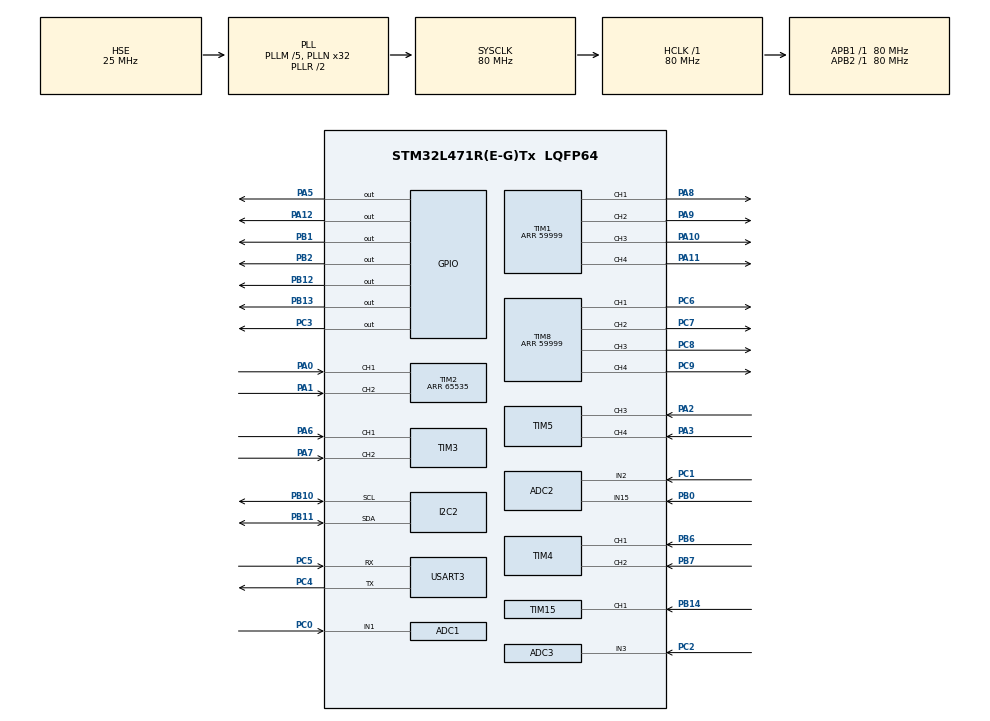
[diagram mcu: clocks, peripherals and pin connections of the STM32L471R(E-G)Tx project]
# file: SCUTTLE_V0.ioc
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ADC1.Channel-0\#ChannelRegularConversion=ADC_CHANNEL_1
ADC1.NbrOfConversionFlag=1
ADC1.OffsetNumber-0\#ChannelRegularConversion=ADC_OFFSET_NONE
ADC1.Rank-0\#ChannelRegularConversion=1
ADC1.SamplingTime-0\#ChannelRegularConversion=ADC_SAMPLETIME_2CYCLES_5
ADC1.master=1
ADC2.Channel-0\#ChannelRegularConversion=ADC_CHANNEL_2
ADC2.Channel-1\#ChannelRegularConversion=ADC_CHANNEL_15
ADC2.NbrOfConversion=2
ADC2.NbrOfConversionFlag=1
ADC2.OffsetNumber-0\#ChannelRegularConversion=ADC_OFFSET_NONE
ADC2.OffsetNumber-1\#ChannelRegularConversion=ADC_OFFSET_NONE
ADC2.Rank-0\#ChannelRegularConversion=1
ADC2.Rank-1\#ChannelRegularConversion=2
ADC2.SamplingTime-0\#ChannelRegularConversion=ADC_SAMPLETIME_2CYCLES_5
ADC2.SamplingTime-1\#ChannelRegularConversion=ADC_SAMPLETIME_2CYCLES_5
ADC3.Channel-1\#ChannelRegularConversion=ADC_CHANNEL_3
ADC3.NbrOfConversionFlag=1
ADC3.OffsetNumber-1\#ChannelRegularConversion=ADC_OFFSET_NONE
ADC3.Rank-1\#ChannelRegularConversion=1
ADC3.SamplingTime-1\#ChannelRegularConversion=ADC_SAMPLETIME_2CYCLES_5
I2C2.Timing=0x10909CEC
Mcu.Family=STM32L4
Mcu.Name=STM32L471R(E-G)Tx
Mcu.Package=LQFP64
NVIC.PriorityGroup=NVIC_PRIORITYGROUP_4
NVIC.RCC_IRQn=true\:0\:0\:false\:false\:true\:true\:false\:true
NVIC.TIM1_BRK_TIM15_IRQn=true\:0\:0\:false\:false\:true\:true\:true\:true
NVIC.USART3_IRQn=true\:0\:0\:false\:false\:true\:true\:true\:true
PA0.Signal=S_TIM2_CH1
PA1.Signal=S_TIM2_CH2
PA10.Signal=S_TIM1_CH3
PA11.Signal=S_TIM1_CH4
PA12.Signal=GPIO_Output
PA13\ (JTMS-SWDIO).Mode=Serial_Wire
PA13\ (JTMS-SWDIO).Signal=SYS_JTMS-SWDIO
PA14\ (JTCK-SWCLK).Mode=Serial_Wire
PA14\ (JTCK-SWCLK).Signal=SYS_JTCK-SWCLK
PA2.Signal=S_TIM5_CH3
PA3.Signal=S_TIM5_CH4
PA4.Signal=SPI3_NSS
PA5.Signal=GPIO_Output
PA6.Signal=S_TIM3_CH1
PA7.Signal=S_TIM3_CH2
PA8.Signal=S_TIM1_CH1
PA9.Signal=S_TIM1_CH2
PB0.Signal=ADCx_IN15
PB1.Signal=GPIO_Output
PB10.Mode=I2C
PB10.Signal=I2C2_SCL
PB11.Mode=I2C
PB11.Signal=I2C2_SDA
PB12.Signal=GPIO_Output
PB13.Signal=GPIO_Output
PB14.Signal=S_TIM15_CH1
PB15.Signal=S_TIM15_CH2
PB2.Signal=GPIO_Output
PB3\ (JTDO-TRACESWO).Signal=SYS_JTDO-SWO
PB6.Signal=S_TIM4_CH1
PB7.Signal=S_TIM4_CH2
PC0.Signal=SharedAnalog_PC0
PC1.Signal=SharedAnalog_PC1
PC2.Signal=SharedAnalog_PC2
PC3.Signal=GPIO_Output
PC4.Mode=Asynchronous
PC4.Signal=USART3_TX
PC5.Mode=Asynchronous
PC5.Signal=USART3_RX
PC6.Signal=S_TIM8_CH1
PC7.Signal=S_TIM8_CH2
PC8.Signal=S_TIM8_CH3
PC9.Signal=S_TIM8_CH4
PH0-OSC_IN\ (PH0).Mode=HSE-External-Oscillator
PH0-OSC_IN\ (PH0).Signal=RCC_OSC_IN
PH1-OSC_OUT\ (PH1).Mode=HSE-External-Oscillator
PH1-OSC_OUT\ (PH1).Signal=RCC_OSC_OUT
ProjectManager.HeapSize=0x200
ProjectManager.StackSize=0x400
ProjectManager.TargetToolchain=STM32CubeIDE
RCC.ADCFreq_Value=60000000
RCC.AHBFreq_Value=80000000
RCC.APB1Freq_Value=80000000
RCC.APB1TimFreq_Value=80000000
RCC.APB2Freq_Value=80000000
RCC.APB2TimFreq_Value=80000000
RCC.CortexFreq_Value=80000000
RCC.HCLKFreq_Value=80000000
RCC.HSE_VALUE=25000000
RCC.HSI_VALUE=16000000
RCC.LSE_VALUE=32768
RCC.MSI_VALUE=4000000
RCC.PLLM=5
RCC.PLLN=32
RCC.PLLSAI1N=24
RCC.PLLSourceVirtual=RCC_PLLSOURCE_HSE
RCC.SYSCLKFreq_VALUE=80000000
RCC.SYSCLKSource=RCC_SYSCLKSOURCE_PLLCLK
RCC.VCOOutputFreq_Value=160000000
SH.ADCx_IN15.0=ADC2_IN15,IN15-Single-Ended
SH.S_TIM15_CH1.0=TIM15_CH1,Input_Capture1_from_TI1
SH.S_TIM15_CH2.0=TIM15_CH2
SH.S_TIM1_CH1.0=TIM1_CH1,PWM Generation1 CH1
SH.S_TIM1_CH2.0=TIM1_CH2,PWM Generation2 CH2
SH.S_TIM1_CH3.0=TIM1_CH3,PWM Generation3 CH3
SH.S_TIM1_CH4.0=TIM1_CH4,PWM Generation4 CH4
SH.S_TIM2_CH1.0=TIM2_CH1,Encoder_Interface
SH.S_TIM2_CH2.0=TIM2_CH2,Encoder_Interface
SH.S_TIM3_CH1.0=TIM3_CH1,Encoder_Interface
SH.S_TIM3_CH2.0=TIM3_CH2,Encoder_Interface
SH.S_TIM4_CH1.0=TIM4_CH1,Encoder_Interface
SH.S_TIM4_CH2.0=TIM4_CH2,Encoder_Interface
SH.S_TIM5_CH3.0=TIM5_CH3,Input_Capture3_from_TI3
SH.S_TIM5_CH4.0=TIM5_CH4,Input_Capture4_from_TI4
SH.S_TIM8_CH1.0=TIM8_CH1,PWM Generation1 CH1
SH.S_TIM8_CH2.0=TIM8_CH2,PWM Generation2 CH2
SH.S_TIM8_CH3.0=TIM8_CH3,PWM Generation3 CH3
SH.S_TIM8_CH4.0=TIM8_CH4,PWM Generation4 CH4
SH.SharedAnalog_PC0.0=GPIO_Analog
SH.SharedAnalog_PC0.1=ADC1_IN1,IN1-Single-Ended
SH.SharedAnalog_PC1.0=GPIO_Analog
SH.SharedAnalog_PC1.1=ADC1_IN2
SH.SharedAnalog_PC1.2=ADC2_IN2,IN2-Single-Ended
SH.SharedAnalog_PC2.0=GPIO_Analog
SH.SharedAnalog_PC2.1=ADC2_IN3
SH.SharedAnalog_PC2.2=ADC3_IN3,IN3-Single-Ended
TIM1.Channel-PWM\ Generation1\ CH1=TIM_CHANNEL_1
TIM1.Channel-PWM\ Generation2\ CH2=TIM_CHANNEL_2
TIM1.Channel-PWM\ Generation3\ CH3=TIM_CHANNEL_3
TIM1.Channel-PWM\ Generation4\ CH4=TIM_CHANNEL_4
TIM1.OC1Preload_PWM=DISABLE
TIM1.OC2Preload_PWM=DISABLE
TIM1.OC3Preload_PWM=DISABLE
TIM1.OC4Preload_PWM=DISABLE
TIM1.Period=59999
TIM1.Pulse-PWM\ Generation3\ CH3=0
TIM1.Pulse-PWM\ Generation4\ CH4=0
TIM15.AutoReloadPreload=TIM_AUTORELOAD_PRELOAD_ENABLE
TIM15.Channel-Input_Capture1_from_TI1=TIM_CHANNEL_1
TIM15.ICPolarity_CH1=TIM_INPUTCHANNELPOLARITY_BOTHEDGE
TIM15.Prescaler=79
TIM17.Prescaler=79
TIM2.Period=65535
TIM5.Channel-Input_Capture3_from_TI3=TIM_CHANNEL_3
TIM5.Channel-Input_Capture4_from_TI4=TIM_CHANNEL_4
TIM8.Channel-PWM\ Generation1\ CH1=TIM_CHANNEL_1
TIM8.Channel-PWM\ Generation2\ CH2=TIM_CHANNEL_2
TIM8.Channel-PWM\ Generation3\ CH3=TIM_CHANNEL_3
TIM8.Channel-PWM\ Generation4\ CH4=TIM_CHANNEL_4
TIM8.Period=59999
USART3.DMADisableonRxErrorParam=ADVFEATURE_DMA_DISABLEONRXERROR
USART3.VirtualMode-Asynchronous=VM_ASYNC
VP_TIM17_VS_ClockSourceINT.Mode=Enable_Timer
VP_TIM1_VS_ClockSourceINT.Mode=Internal
board=custom

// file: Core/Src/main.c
/**
  ******************************************************************************
  * @file    main.c
  * @brief   Main program for STM32 application using finite state machine (FSM)
  *          to manage tasks and peripherals. SCUTTLE main code.
  * @details This file implements the main program logic using a finite state
  *          machine (FSM) approach to coordinate various tasks and control
  *          peripheral devices on an STM32 microcontroller.
  ******************************************************************************
  */

#include "main.h"
#include "task1.h"
#include "task2.h"
#include "task4.h"
#include "task5.h"
#include "task6.h"
#include "Counter.h"
#include "motor.h"
#include "encoder.h"
#include "motorcontrol.h"

ADC_HandleTypeDef hadc1;                /**< ADC handle for ADC1 */
ADC_HandleTypeDef hadc2;                /**< ADC handle for ADC2 */
ADC_HandleTypeDef hadc3;                /**< ADC handle for ADC3 */

I2C_HandleTypeDef hi2c2;                /**< I2C handle for I2C2 */

TIM_HandleTypeDef htim1;                /**< TIM handle for TIM1 */
TIM_HandleTypeDef htim2;                /**< TIM handle for TIM2 */
TIM_HandleTypeDef htim3;                /**< TIM handle for TIM3 */
TIM_HandleTypeDef htim4;                /**< TIM handle for TIM4 */
TIM_HandleTypeDef htim5;                /**< TIM handle for TIM5 */
TIM_HandleTypeDef htim8;                /**< TIM handle for TIM8 */
TIM_HandleTypeDef htim15;               /**< TIM handle for TIM15 */
TIM_HandleTypeDef htim17;               /**< TIM handle for TIM17 */

UART_HandleTypeDef huart3;              /**< UART handle for UART3 */

int usWidth = 0;                        /**< Width for Radio Interrupt */
#define TIMCLOCK   80000000            /**< Timer Clock Frequency */
#define PRESCALAR  80                 /**< Timer Prescalar */

int IC_Val1 = 0;                        /**< Input Capture Value 1 */
int IC_Val2 = 0;                        /**< Input Capture Value 2 */
int Difference = 0;                     /**< Difference between IC values */
int Is_First_Captured = 0;              /**< Flag for first capture */

uint32_t sumval = 0;                    /**< Metal Detector Value */

uint8_t SPI_Rec = 0;                    /**< Flag for SPI Data Received */

uint8_t MDON = 0;                       /**< Metal Detector ON Flag */

uint8_t Metal_Found = 0;                /**< Flag for metal detection */

float Distance_Target = 0;              /**< Distance Setpoint */
float Angle_Target = 0;                 /**< Angle Setpoint */

uint8_t rx_buff[8];                     /**< UART Receive Buffer */

void SystemClock_Config(void);
void PeriphCommonClock_Config(void);
static void MX_GPIO_Init(void);
static void MX_TIM1_Init(void);
static void MX_ADC1_Init(void);
static void MX_ADC2_Init(void);
static void MX_ADC3_Init(void);
static void MX_TIM2_Init(void);
static void MX_TIM3_Init(void);
static void MX_USART3_UART_Init(void);
static void MX_TIM4_Init(void);
static void MX_TIM5_Init(void);
static void MX_I2C2_Init(void);
static void MX_TIM8_Init(void);
static void MX_TIM15_Init(void);
static void MX_TIM17_Init(void);

/**
  * @brief  Main function
  * @retval int
  */
int main(void)
{
  uint8_t task = 0;       /**< State variable for main loop */
  uint8_t T1State = 0;    /**< Task 1 State */
  uint8_t T2State = 0;    /**< Task 2 State */
  uint8_t T4State = 0;    /**< Task 4 State */
  uint8_t T5State = 0;    /**< Task 5 State */
  uint8_t T6State = 0;    /**< Task 6 State */

  uint8_t DriveON_Rad = 1; /**< Radio Drive ON */
  uint8_t ArmON = 1;       /**< Arm Motor ON */

  uint8_t Follow = 1;      /**< Follow mode */

  uint8_t OpenMV = 1;      /**< OpenMV flag */

  uint8_t BatKill = 0;     /**< Kill switch states */
  uint8_t RadKill = 0;

  HAL_Init();  // Initialize HAL

  SystemClock_Config();  // Configure system clock

  PeriphCommonClock_Config();  // Configure common peripherals clock

  MX_GPIO_Init();       // Initialize GPIO
  MX_TIM1_Init();       // Initialize TIM1
  MX_ADC1_Init();       // Initialize ADC1
  MX_ADC2_Init();       // Initialize ADC2
  MX_ADC3_Init();       // Initialize ADC3
  MX_TIM2_Init();       // Initialize TIM2
  MX_TIM3_Init();       // Initialize TIM3
  MX_USART3_UART_Init();// Initialize USART3
  MX_TIM4_Init();       // Initialize TIM4
  MX_TIM5_Init();       // Initialize TIM5
  MX_I2C2_Init();       // Initialize I2C2
  MX_TIM8_Init();       // Initialize TIM8
  MX_TIM15_Init();      // Initialize TIM15
  MX_TIM17_Init();      // Initialize TIM17

  // Start PWM for motor 1 and motor 2 channels
  HAL_TIM_PWM_Start(&htim1, TIM_CHANNEL_1);
  HAL_TIM_PWM_Start(&htim1, TIM_CHANNEL_2);
  HAL_TIM_PWM_Start(&htim1, TIM_CHANNEL_3);
  HAL_TIM_PWM_Start(&htim1, TIM_CHANNEL_4);

  // Enable motors 1 (PB1) and 2 (PB2)
  HAL_GPIO_WritePin(GPIOB, GPIO_PIN_1 | GPIO_PIN_2 | GPIO_PIN_12 | GPIO_PIN_13, GPIO_PIN_SET);

  // Start the encoders and enable interrupts
  HAL_TIM_Encoder_Start_IT(&htim3, TIM_CHANNEL_ALL);
  __HAL_TIM_SET_COUNTER(&htim3, 0);
  HAL_TIM_Encoder_Start_IT(&htim4, TIM_CHANNEL_ALL);
  __HAL_TIM_SET_COUNTER(&htim4, 0);

  // Start ADCs
  HAL_ADC_Start(&hadc1);
  HAL_ADC_Start(&hadc2);
  HAL_ADC_Start(&hadc3);

  // Start UART receive interrupt
  HAL_UART_Receive_IT(&huart3, rx_buff, 8);

  while (1) {
    switch(task) {
      case 0: // Initialization
        task = 1;
        break;

      case 1: // Diagnostics
        task1_run(&T1State, hadc2, &BatKill);
        task = 2;
        break;

      case 2: // Radio Control
        task2_run(&T2State, &BatKill, &RadKill, &usWidth, &DriveON_Rad, &ArmON, &MDON, &OpenMV);
        task = 4;
        break;

      case 4: // Metal Detector
        task4_run(&T4State, &MDON, &sumval, htim17, &Metal_Found, hadc1, hadc2, hadc3);
        task = 5;
        break;

      case 5: // Arm Motor
        task5_run(&T5State, &ArmON, &Metal_Found, htim17, &sumval);
        task = 6;
        break;

      case 6: // Drive Motors
        task6_run(&T6State, &Metal_Found, &DriveON_Rad, &Follow, &Distance_Target, &Angle_Target, htim1, htim3, htim4);
        task = 1; // Do not return to initialization
        break;
    }
  }

    /* USER CODE END WHILE */

}

void SystemClock_Config(void)
{
  RCC_OscInitTypeDef RCC_OscInitStruct = {0};
  RCC_ClkInitTypeDef RCC_ClkInitStruct = {0};

  /** Configure the main internal regulator output voltage
  */
  if (HAL_PWREx_ControlVoltageScaling(PWR_REGULATOR_VOLTAGE_SCALE1) != HAL_OK)
  {
    Error_Handler();
  }

  /** Initializes the RCC Oscillators according to the specified parameters
  * in the RCC_OscInitTypeDef structure.
  */
  RCC_OscInitStruct.OscillatorType = RCC_OSCILLATORTYPE_HSE;
  RCC_OscInitStruct.HSEState = RCC_HSE_ON;
  RCC_OscInitStruct.PLL.PLLState = RCC_PLL_ON;
  RCC_OscInitStruct.PLL.PLLSource = RCC_PLLSOURCE_HSE;
  RCC_OscInitStruct.PLL.PLLM = 5;
  RCC_OscInitStruct.PLL.PLLN = 32;
  RCC_OscInitStruct.PLL.PLLP = RCC_PLLP_DIV7;
  RCC_OscInitStruct.PLL.PLLQ = RCC_PLLQ_DIV2;
  RCC_OscInitStruct.PLL.PLLR = RCC_PLLR_DIV2;
  if (HAL_RCC_OscConfig(&RCC_OscInitStruct) != HAL_OK)
  {
    Error_Handler();
  }

  /** Initializes the CPU, AHB and APB buses clocks
  */
  RCC_ClkInitStruct.ClockType = RCC_CLOCKTYPE_HCLK|RCC_CLOCKTYPE_SYSCLK
                              |RCC_CLOCKTYPE_PCLK1|RCC_CLOCKTYPE_PCLK2;
  RCC_ClkInitStruct.SYSCLKSource = RCC_SYSCLKSOURCE_PLLCLK;
  RCC_ClkInitStruct.AHBCLKDivider = RCC_SYSCLK_DIV1;
  RCC_ClkInitStruct.APB1CLKDivider = RCC_HCLK_DIV1;
  RCC_ClkInitStruct.APB2CLKDivider = RCC_HCLK_DIV1;

  if (HAL_RCC_ClockConfig(&RCC_ClkInitStruct, FLASH_LATENCY_4) != HAL_OK)
  {
    Error_Handler();
  }
}

void PeriphCommonClock_Config(void)
{
  RCC_PeriphCLKInitTypeDef PeriphClkInit = {0};

  /** Initializes the peripherals clock
  */
  PeriphClkInit.PeriphClockSelection = RCC_PERIPHCLK_ADC;
  PeriphClkInit.AdcClockSelection = RCC_ADCCLKSOURCE_PLLSAI1;
  PeriphClkInit.PLLSAI1.PLLSAI1Source = RCC_PLLSOURCE_HSE;
  PeriphClkInit.PLLSAI1.PLLSAI1M = 5;
  PeriphClkInit.PLLSAI1.PLLSAI1N = 24;
  PeriphClkInit.PLLSAI1.PLLSAI1P = RCC_PLLP_DIV7;
  PeriphClkInit.PLLSAI1.PLLSAI1Q = RCC_PLLQ_DIV2;
  PeriphClkInit.PLLSAI1.PLLSAI1R = RCC_PLLR_DIV2;
  PeriphClkInit.PLLSAI1.PLLSAI1ClockOut = RCC_PLLSAI1_ADC1CLK;
  if (HAL_RCCEx_PeriphCLKConfig(&PeriphClkInit) != HAL_OK)
  {
    Error_Handler();
  }
}

static void MX_ADC1_Init(void)
{

  ADC_MultiModeTypeDef multimode = {0};
  ADC_ChannelConfTypeDef sConfig = {0};

  /** Common config
  */
  hadc1.Instance = ADC1;
  hadc1.Init.ClockPrescaler = ADC_CLOCK_ASYNC_DIV1;
  hadc1.Init.Resolution = ADC_RESOLUTION_12B;
  hadc1.Init.DataAlign = ADC_DATAALIGN_RIGHT;
  hadc1.Init.ScanConvMode = ADC_SCAN_DISABLE;
  hadc1.Init.EOCSelection = ADC_EOC_SINGLE_CONV;
  hadc1.Init.LowPowerAutoWait = DISABLE;
  hadc1.Init.ContinuousConvMode = DISABLE;
  hadc1.Init.NbrOfConversion = 1;
  hadc1.Init.DiscontinuousConvMode = DISABLE;
  hadc1.Init.ExternalTrigConv = ADC_SOFTWARE_START;
  hadc1.Init.ExternalTrigConvEdge = ADC_EXTERNALTRIGCONVEDGE_NONE;
  hadc1.Init.DMAContinuousRequests = DISABLE;
  hadc1.Init.Overrun = ADC_OVR_DATA_PRESERVED;
  hadc1.Init.OversamplingMode = DISABLE;
  if (HAL_ADC_Init(&hadc1) != HAL_OK)
  {
    Error_Handler();
  }

  /** Configure the ADC multi-mode
  */
  multimode.Mode = ADC_MODE_INDEPENDENT;
  if (HAL_ADCEx_MultiModeConfigChannel(&hadc1, &multimode) != HAL_OK)
  {
    Error_Handler();
  }

  /** Configure Regular Channel
  */
  sConfig.Channel = ADC_CHANNEL_1;
  sConfig.Rank = ADC_REGULAR_RANK_1;
  sConfig.SamplingTime = ADC_SAMPLETIME_2CYCLES_5;
  sConfig.SingleDiff = ADC_SINGLE_ENDED;
  sConfig.OffsetNumber = ADC_OFFSET_NONE;
  sConfig.Offset = 0;
  if (HAL_ADC_ConfigChannel(&hadc1, &sConfig) != HAL_OK)
  {
    Error_Handler();
  }

}

static void MX_ADC2_Init(void)
{

  ADC_ChannelConfTypeDef sConfig = {0};

  /** Common config
  */
  hadc2.Instance = ADC2;
  hadc2.Init.ClockPrescaler = ADC_CLOCK_ASYNC_DIV1;
  hadc2.Init.Resolution = ADC_RESOLUTION_12B;
  hadc2.Init.DataAlign = ADC_DATAALIGN_RIGHT;
  hadc2.Init.ScanConvMode = ADC_SCAN_ENABLE;
  hadc2.Init.EOCSelection = ADC_EOC_SINGLE_CONV;
  hadc2.Init.LowPowerAutoWait = DISABLE;
  hadc2.Init.ContinuousConvMode = DISABLE;
  hadc2.Init.NbrOfConversion = 2;
  hadc2.Init.DiscontinuousConvMode = DISABLE;
  hadc2.Init.ExternalTrigConv = ADC_SOFTWARE_START;
  hadc2.Init.ExternalTrigConvEdge = ADC_EXTERNALTRIGCONVEDGE_NONE;
  hadc2.Init.DMAContinuousRequests = DISABLE;
  hadc2.Init.Overrun = ADC_OVR_DATA_PRESERVED;
  hadc2.Init.OversamplingMode = DISABLE;
  if (HAL_ADC_Init(&hadc2) != HAL_OK)
  {
    Error_Handler();
  }

  /** Configure Regular Channel
  */
  sConfig.Channel = ADC_CHANNEL_2;
  sConfig.Rank = ADC_REGULAR_RANK_1;
  sConfig.SamplingTime = ADC_SAMPLETIME_2CYCLES_5;
  sConfig.SingleDiff = ADC_SINGLE_ENDED;
  sConfig.OffsetNumber = ADC_OFFSET_NONE;
  sConfig.Offset = 0;
  if (HAL_ADC_ConfigChannel(&hadc2, &sConfig) != HAL_OK)
  {
    Error_Handler();
  }

  /** Configure Regular Channel
  */
  sConfig.Channel = ADC_CHANNEL_15;
  sConfig.Rank = ADC_REGULAR_RANK_2;
  if (HAL_ADC_ConfigChannel(&hadc2, &sConfig) != HAL_OK)
  {
    Error_Handler();
  }

}

static void MX_ADC3_Init(void)
{

  ADC_ChannelConfTypeDef sConfig = {0};

  /** Common config
  */
  hadc3.Instance = ADC3;
  hadc3.Init.ClockPrescaler = ADC_CLOCK_ASYNC_DIV1;
  hadc3.Init.Resolution = ADC_RESOLUTION_12B;
  hadc3.Init.DataAlign = ADC_DATAALIGN_RIGHT;
  hadc3.Init.ScanConvMode = ADC_SCAN_DISABLE;
  hadc3.Init.EOCSelection = ADC_EOC_SINGLE_CONV;
  hadc3.Init.LowPowerAutoWait = DISABLE;
  hadc3.Init.ContinuousConvMode = DISABLE;
  hadc3.Init.NbrOfConversion = 1;
  hadc3.Init.DiscontinuousConvMode = DISABLE;
  hadc3.Init.ExternalTrigConv = ADC_SOFTWARE_START;
  hadc3.Init.ExternalTrigConvEdge = ADC_EXTERNALTRIGCONVEDGE_NONE;
  hadc3.Init.DMAContinuousRequests = DISABLE;
  hadc3.Init.Overrun = ADC_OVR_DATA_PRESERVED;
  hadc3.Init.OversamplingMode = DISABLE;
  if (HAL_ADC_Init(&hadc3) != HAL_OK)
  {
    Error_Handler();
  }

  /** Configure Regular Channel
  */
  sConfig.Channel = ADC_CHANNEL_3;
  sConfig.Rank = ADC_REGULAR_RANK_1;
  sConfig.SamplingTime = ADC_SAMPLETIME_2CYCLES_5;
  sConfig.SingleDiff = ADC_SINGLE_ENDED;
  sConfig.OffsetNumber = ADC_OFFSET_NONE;
  sConfig.Offset = 0;
  if (HAL_ADC_ConfigChannel(&hadc3, &sConfig) != HAL_OK)
  {
    Error_Handler();
  }

}

static void MX_I2C2_Init(void)
{

  hi2c2.Instance = I2C2;
  hi2c2.Init.Timing = 0x10909CEC;
  hi2c2.Init.OwnAddress1 = 0;
  hi2c2.Init.AddressingMode = I2C_ADDRESSINGMODE_7BIT;
  hi2c2.Init.DualAddressMode = I2C_DUALADDRESS_DISABLE;
  hi2c2.Init.OwnAddress2 = 0;
  hi2c2.Init.OwnAddress2Masks = I2C_OA2_NOMASK;
  hi2c2.Init.GeneralCallMode = I2C_GENERALCALL_DISABLE;
  hi2c2.Init.NoStretchMode = I2C_NOSTRETCH_DISABLE;
  if (HAL_I2C_Init(&hi2c2) != HAL_OK)
  {
    Error_Handler();
  }

  /** Configure Analogue filter
  */
  if (HAL_I2CEx_ConfigAnalogFilter(&hi2c2, I2C_ANALOGFILTER_ENABLE) != HAL_OK)
  {
    Error_Handler();
  }

  /** Configure Digital filter
  */
  if (HAL_I2CEx_ConfigDigitalFilter(&hi2c2, 0) != HAL_OK)
  {
    Error_Handler();
  }

}

static void MX_TIM1_Init(void)
{

  TIM_ClockConfigTypeDef sClockSourceConfig = {0};
  TIM_MasterConfigTypeDef sMasterConfig = {0};
  TIM_OC_InitTypeDef sConfigOC = {0};
  TIM_BreakDeadTimeConfigTypeDef sBreakDeadTimeConfig = {0};

  htim1.Instance = TIM1;
  htim1.Init.Prescaler = 0;
  htim1.Init.CounterMode = TIM_COUNTERMODE_UP;
  htim1.Init.Period = 59999;
  htim1.Init.ClockDivision = TIM_CLOCKDIVISION_DIV1;
  htim1.Init.RepetitionCounter = 0;
  htim1.Init.AutoReloadPreload = TIM_AUTORELOAD_PRELOAD_DISABLE;
  if (HAL_TIM_Base_Init(&htim1) != HAL_OK)
  {
    Error_Handler();
  }
  sClockSourceConfig.ClockSource = TIM_CLOCKSOURCE_INTERNAL;
  if (HAL_TIM_ConfigClockSource(&htim1, &sClockSourceConfig) != HAL_OK)
  {
    Error_Handler();
  }
  if (HAL_TIM_PWM_Init(&htim1) != HAL_OK)
  {
    Error_Handler();
  }
  sMasterConfig.MasterOutputTrigger = TIM_TRGO_RESET;
  sMasterConfig.MasterOutputTrigger2 = TIM_TRGO2_RESET;
  sMasterConfig.MasterSlaveMode = TIM_MASTERSLAVEMODE_DISABLE;
  if (HAL_TIMEx_MasterConfigSynchronization(&htim1, &sMasterConfig) != HAL_OK)
  {
    Error_Handler();
  }
  sConfigOC.OCMode = TIM_OCMODE_PWM1;
  sConfigOC.Pulse = 0;
  sConfigOC.OCPolarity = TIM_OCPOLARITY_HIGH;
  sConfigOC.OCNPolarity = TIM_OCNPOLARITY_HIGH;
  sConfigOC.OCFastMode = TIM_OCFAST_DISABLE;
  sConfigOC.OCIdleState = TIM_OCIDLESTATE_RESET;
  sConfigOC.OCNIdleState = TIM_OCNIDLESTATE_RESET;
  if (HAL_TIM_PWM_ConfigChannel(&htim1, &sConfigOC, TIM_CHANNEL_1) != HAL_OK)
  {
    Error_Handler();
  }
  __HAL_TIM_DISABLE_OCxPRELOAD(&htim1, TIM_CHANNEL_1);
  if (HAL_TIM_PWM_ConfigChannel(&htim1, &sConfigOC, TIM_CHANNEL_2) != HAL_OK)
  {
    Error_Handler();
  }
  __HAL_TIM_DISABLE_OCxPRELOAD(&htim1, TIM_CHANNEL_2);
  if (HAL_TIM_PWM_ConfigChannel(&htim1, &sConfigOC, TIM_CHANNEL_3) != HAL_OK)
  {
    Error_Handler();
  }
  __HAL_TIM_DISABLE_OCxPRELOAD(&htim1, TIM_CHANNEL_3);
  if (HAL_TIM_PWM_ConfigChannel(&htim1, &sConfigOC, TIM_CHANNEL_4) != HAL_OK)
  {
    Error_Handler();
  }
  __HAL_TIM_DISABLE_OCxPRELOAD(&htim1, TIM_CHANNEL_4);
  sBreakDeadTimeConfig.OffStateRunMode = TIM_OSSR_DISABLE;
  sBreakDeadTimeConfig.OffStateIDLEMode = TIM_OSSI_DISABLE;
  sBreakDeadTimeConfig.LockLevel = TIM_LOCKLEVEL_OFF;
  sBreakDeadTimeConfig.DeadTime = 0;
  sBreakDeadTimeConfig.BreakState = TIM_BREAK_DISABLE;
  sBreakDeadTimeConfig.BreakPolarity = TIM_BREAKPOLARITY_HIGH;
  sBreakDeadTimeConfig.BreakFilter = 0;
  sBreakDeadTimeConfig.Break2State = TIM_BREAK2_DISABLE;
  sBreakDeadTimeConfig.Break2Polarity = TIM_BREAK2POLARITY_HIGH;
  sBreakDeadTimeConfig.Break2Filter = 0;
  sBreakDeadTimeConfig.AutomaticOutput = TIM_AUTOMATICOUTPUT_DISABLE;
  if (HAL_TIMEx_ConfigBreakDeadTime(&htim1, &sBreakDeadTimeConfig) != HAL_OK)
  {
    Error_Handler();
  }
  HAL_TIM_MspPostInit(&htim1);

}

static void MX_TIM2_Init(void)
{

  TIM_Encoder_InitTypeDef sConfig = {0};
  TIM_MasterConfigTypeDef sMasterConfig = {0};

  htim2.Instance = TIM2;
  htim2.Init.Prescaler = 0;
  htim2.Init.CounterMode = TIM_COUNTERMODE_UP;
  htim2.Init.Period = 65535;
  htim2.Init.ClockDivision = TIM_CLOCKDIVISION_DIV1;
  htim2.Init.AutoReloadPreload = TIM_AUTORELOAD_PRELOAD_DISABLE;
  sConfig.EncoderMode = TIM_ENCODERMODE_TI1;
  sConfig.IC1Polarity = TIM_ICPOLARITY_RISING;
  sConfig.IC1Selection = TIM_ICSELECTION_DIRECTTI;
  sConfig.IC1Prescaler = TIM_ICPSC_DIV1;
  sConfig.IC1Filter = 0;
  sConfig.IC2Polarity = TIM_ICPOLARITY_RISING;
  sConfig.IC2Selection = TIM_ICSELECTION_DIRECTTI;
  sConfig.IC2Prescaler = TIM_ICPSC_DIV1;
  sConfig.IC2Filter = 0;
  if (HAL_TIM_Encoder_Init(&htim2, &sConfig) != HAL_OK)
  {
    Error_Handler();
  }
  sMasterConfig.MasterOutputTrigger = TIM_TRGO_RESET;
  sMasterConfig.MasterSlaveMode = TIM_MASTERSLAVEMODE_DISABLE;
  if (HAL_TIMEx_MasterConfigSynchronization(&htim2, &sMasterConfig) != HAL_OK)
  {
    Error_Handler();
  }

}

static void MX_TIM3_Init(void)
{

  TIM_Encoder_InitTypeDef sConfig = {0};
  TIM_MasterConfigTypeDef sMasterConfig = {0};

  htim3.Instance = TIM3;
  htim3.Init.Prescaler = 0;
  htim3.Init.CounterMode = TIM_COUNTERMODE_UP;
  htim3.Init.Period = 65535;
  htim3.Init.ClockDivision = TIM_CLOCKDIVISION_DIV1;
  htim3.Init.AutoReloadPreload = TIM_AUTORELOAD_PRELOAD_DISABLE;
  sConfig.EncoderMode = TIM_ENCODERMODE_TI1;
  sConfig.IC1Polarity = TIM_ICPOLARITY_RISING;
  sConfig.IC1Selection = TIM_ICSELECTION_DIRECTTI;
  sConfig.IC1Prescaler = TIM_ICPSC_DIV1;
  sConfig.IC1Filter = 0;
  sConfig.IC2Polarity = TIM_ICPOLARITY_RISING;
  sConfig.IC2Selection = TIM_ICSELECTION_DIRECTTI;
  sConfig.IC2Prescaler = TIM_ICPSC_DIV1;
  sConfig.IC2Filter = 0;
  if (HAL_TIM_Encoder_Init(&htim3, &sConfig) != HAL_OK)
  {
    Error_Handler();
  }
  sMasterConfig.MasterOutputTrigger = TIM_TRGO_RESET;
  sMasterConfig.MasterSlaveMode = TIM_MASTERSLAVEMODE_DISABLE;
  if (HAL_TIMEx_MasterConfigSynchronization(&htim3, &sMasterConfig) != HAL_OK)
  {
    Error_Handler();
  }

}

static void MX_TIM4_Init(void)
{

  TIM_Encoder_InitTypeDef sConfig = {0};
  TIM_MasterConfigTypeDef sMasterConfig = {0};

  htim4.Instance = TIM4;
  htim4.Init.Prescaler = 0;
  htim4.Init.CounterMode = TIM_COUNTERMODE_UP;
  htim4.Init.Period = 65535;
  htim4.Init.ClockDivision = TIM_CLOCKDIVISION_DIV1;
  htim4.Init.AutoReloadPreload = TIM_AUTORELOAD_PRELOAD_DISABLE;
  sConfig.EncoderMode = TIM_ENCODERMODE_TI1;
  sConfig.IC1Polarity = TIM_ICPOLARITY_RISING;
  sConfig.IC1Selection = TIM_ICSELECTION_DIRECTTI;
  sConfig.IC1Prescaler = TIM_ICPSC_DIV1;
  sConfig.IC1Filter = 0;
  sConfig.IC2Polarity = TIM_ICPOLARITY_RISING;
  sConfig.IC2Selection = TIM_ICSELECTION_DIRECTTI;
  sConfig.IC2Prescaler = TIM_ICPSC_DIV1;
  sConfig.IC2Filter = 0;
  if (HAL_TIM_Encoder_Init(&htim4, &sConfig) != HAL_OK)
  {
    Error_Handler();
  }
  sMasterConfig.MasterOutputTrigger = TIM_TRGO_RESET;
  sMasterConfig.MasterSlaveMode = TIM_MASTERSLAVEMODE_DISABLE;
  if (HAL_TIMEx_MasterConfigSynchronization(&htim4, &sMasterConfig) != HAL_OK)
  {
    Error_Handler();
  }

}

static void MX_TIM5_Init(void)
{

  TIM_MasterConfigTypeDef sMasterConfig = {0};
  TIM_IC_InitTypeDef sConfigIC = {0};

  htim5.Instance = TIM5;
  htim5.Init.Prescaler = 0;
  htim5.Init.CounterMode = TIM_COUNTERMODE_UP;
  htim5.Init.Period = 4294967295;
  htim5.Init.ClockDivision = TIM_CLOCKDIVISION_DIV1;
  htim5.Init.AutoReloadPreload = TIM_AUTORELOAD_PRELOAD_DISABLE;
  if (HAL_TIM_IC_Init(&htim5) != HAL_OK)
  {
    Error_Handler();
  }
  sMasterConfig.MasterOutputTrigger = TIM_TRGO_RESET;
  sMasterConfig.MasterSlaveMode = TIM_MASTERSLAVEMODE_DISABLE;
  if (HAL_TIMEx_MasterConfigSynchronization(&htim5, &sMasterConfig) != HAL_OK)
  {
    Error_Handler();
  }
  sConfigIC.ICPolarity = TIM_INPUTCHANNELPOLARITY_RISING;
  sConfigIC.ICSelection = TIM_ICSELECTION_DIRECTTI;
  sConfigIC.ICPrescaler = TIM_ICPSC_DIV1;
  sConfigIC.ICFilter = 0;
  if (HAL_TIM_IC_ConfigChannel(&htim5, &sConfigIC, TIM_CHANNEL_3) != HAL_OK)
  {
    Error_Handler();
  }
  if (HAL_TIM_IC_ConfigChannel(&htim5, &sConfigIC, TIM_CHANNEL_4) != HAL_OK)
  {
    Error_Handler();
  }

}

static void MX_TIM8_Init(void)
{

  TIM_MasterConfigTypeDef sMasterConfig = {0};
  TIM_OC_InitTypeDef sConfigOC = {0};
  TIM_BreakDeadTimeConfigTypeDef sBreakDeadTimeConfig = {0};

  htim8.Instance = TIM8;
  htim8.Init.Prescaler = 0;
  htim8.Init.CounterMode = TIM_COUNTERMODE_UP;
  htim8.Init.Period = 59999;
  htim8.Init.ClockDivision = TIM_CLOCKDIVISION_DIV1;
  htim8.Init.RepetitionCounter = 0;
  htim8.Init.AutoReloadPreload = TIM_AUTORELOAD_PRELOAD_DISABLE;
  if (HAL_TIM_PWM_Init(&htim8) != HAL_OK)
  {
    Error_Handler();
  }
  sMasterConfig.MasterOutputTrigger = TIM_TRGO_RESET;
  sMasterConfig.MasterOutputTrigger2 = TIM_TRGO2_RESET;
  sMasterConfig.MasterSlaveMode = TIM_MASTERSLAVEMODE_DISABLE;
  if (HAL_TIMEx_MasterConfigSynchronization(&htim8, &sMasterConfig) != HAL_OK)
  {
    Error_Handler();
  }
  sConfigOC.OCMode = TIM_OCMODE_PWM1;
  sConfigOC.Pulse = 0;
  sConfigOC.OCPolarity = TIM_OCPOLARITY_HIGH;
  sConfigOC.OCNPolarity = TIM_OCNPOLARITY_HIGH;
  sConfigOC.OCFastMode = TIM_OCFAST_DISABLE;
  sConfigOC.OCIdleState = TIM_OCIDLESTATE_RESET;
  sConfigOC.OCNIdleState = TIM_OCNIDLESTATE_RESET;
  if (HAL_TIM_PWM_ConfigChannel(&htim8, &sConfigOC, TIM_CHANNEL_1) != HAL_OK)
  {
    Error_Handler();
  }
  if (HAL_TIM_PWM_ConfigChannel(&htim8, &sConfigOC, TIM_CHANNEL_2) != HAL_OK)
  {
    Error_Handler();
  }
  if (HAL_TIM_PWM_ConfigChannel(&htim8, &sConfigOC, TIM_CHANNEL_3) != HAL_OK)
  {
    Error_Handler();
  }
  if (HAL_TIM_PWM_ConfigChannel(&htim8, &sConfigOC, TIM_CHANNEL_4) != HAL_OK)
  {
    Error_Handler();
  }
  sBreakDeadTimeConfig.OffStateRunMode = TIM_OSSR_DISABLE;
  sBreakDeadTimeConfig.OffStateIDLEMode = TIM_OSSI_DISABLE;
  sBreakDeadTimeConfig.LockLevel = TIM_LOCKLEVEL_OFF;
  sBreakDeadTimeConfig.DeadTime = 0;
  sBreakDeadTimeConfig.BreakState = TIM_BREAK_DISABLE;
  sBreakDeadTimeConfig.BreakPolarity = TIM_BREAKPOLARITY_HIGH;
  sBreakDeadTimeConfig.BreakFilter = 0;
  sBreakDeadTimeConfig.Break2State = TIM_BREAK2_DISABLE;
  sBreakDeadTimeConfig.Break2Polarity = TIM_BREAK2POLARITY_HIGH;
  sBreakDeadTimeConfig.Break2Filter = 0;
  sBreakDeadTimeConfig.AutomaticOutput = TIM_AUTOMATICOUTPUT_DISABLE;
  if (HAL_TIMEx_ConfigBreakDeadTime(&htim8, &sBreakDeadTimeConfig) != HAL_OK)
  {
    Error_Handler();
  }
  HAL_TIM_MspPostInit(&htim8);

}

static void MX_TIM15_Init(void)
{

  TIM_MasterConfigTypeDef sMasterConfig = {0};
  TIM_IC_InitTypeDef sConfigIC = {0};

  htim15.Instance = TIM15;
  htim15.Init.Prescaler = 79;
  htim15.Init.CounterMode = TIM_COUNTERMODE_UP;
  htim15.Init.Period = 65535;
  htim15.Init.ClockDivision = TIM_CLOCKDIVISION_DIV1;
  htim15.Init.RepetitionCounter = 0;
  htim15.Init.AutoReloadPreload = TIM_AUTORELOAD_PRELOAD_ENABLE;
  if (HAL_TIM_IC_Init(&htim15) != HAL_OK)
  {
    Error_Handler();
  }
  sMasterConfig.MasterOutputTrigger = TIM_TRGO_RESET;
  sMasterConfig.MasterSlaveMode = TIM_MASTERSLAVEMODE_DISABLE;
  if (HAL_TIMEx_MasterConfigSynchronization(&htim15, &sMasterConfig) != HAL_OK)
  {
    Error_Handler();
  }
  sConfigIC.ICPolarity = TIM_INPUTCHANNELPOLARITY_BOTHEDGE;
  sConfigIC.ICSelection = TIM_ICSELECTION_DIRECTTI;
  sConfigIC.ICPrescaler = TIM_ICPSC_DIV1;
  sConfigIC.ICFilter = 0;
  if (HAL_TIM_IC_ConfigChannel(&htim15, &sConfigIC, TIM_CHANNEL_1) != HAL_OK)
  {
    Error_Handler();
  }

}

static void MX_TIM17_Init(void)
{

  htim17.Instance = TIM17;
  htim17.Init.Prescaler = 79;
  htim17.Init.CounterMode = TIM_COUNTERMODE_UP;
  htim17.Init.Period = 65535;
  htim17.Init.ClockDivision = TIM_CLOCKDIVISION_DIV1;
  htim17.Init.RepetitionCounter = 0;
  htim17.Init.AutoReloadPreload = TIM_AUTORELOAD_PRELOAD_DISABLE;
  if (HAL_TIM_Base_Init(&htim17) != HAL_OK)
  {
    Error_Handler();
  }

}

static void MX_USART3_UART_Init(void)
{

  huart3.Instance = USART3;
  huart3.Init.BaudRate = 115200;
  huart3.Init.WordLength = UART_WORDLENGTH_8B;
  huart3.Init.StopBits = UART_STOPBITS_1;
  huart3.Init.Parity = UART_PARITY_NONE;
  huart3.Init.Mode = UART_MODE_TX_RX;
  huart3.Init.HwFlowCtl = UART_HWCONTROL_NONE;
  huart3.Init.OverSampling = UART_OVERSAMPLING_16;
  huart3.Init.OneBitSampling = UART_ONE_BIT_SAMPLE_DISABLE;
  huart3.AdvancedInit.AdvFeatureInit = UART_ADVFEATURE_DMADISABLEONERROR_INIT;
  huart3.AdvancedInit.DMADisableonRxError = UART_ADVFEATURE_DMA_DISABLEONRXERROR;
  if (HAL_UART_Init(&huart3) != HAL_OK)
  {
    Error_Handler();
  }

}

static void MX_GPIO_Init(void)
{
  GPIO_InitTypeDef GPIO_InitStruct = {0};

  /* GPIO Ports Clock Enable */
  __HAL_RCC_GPIOH_CLK_ENABLE();
  __HAL_RCC_GPIOC_CLK_ENABLE();
  __HAL_RCC_GPIOA_CLK_ENABLE();
  __HAL_RCC_GPIOB_CLK_ENABLE();

  /*Configure GPIO pin Output Level */
  HAL_GPIO_WritePin(GPIOC, GPIO_PIN_3, GPIO_PIN_RESET);

  /*Configure GPIO pin Output Level */
  HAL_GPIO_WritePin(GPIOA, GPIO_PIN_5|GPIO_PIN_12, GPIO_PIN_RESET);

  /*Configure GPIO pin Output Level */
  HAL_GPIO_WritePin(GPIOB, GPIO_PIN_1|GPIO_PIN_2|GPIO_PIN_12|GPIO_PIN_13, GPIO_PIN_RESET);

  /*Configure GPIO pin : PC3 */
  GPIO_InitStruct.Pin = GPIO_PIN_3;
  GPIO_InitStruct.Mode = GPIO_MODE_OUTPUT_PP;
  GPIO_InitStruct.Pull = GPIO_NOPULL;
  GPIO_InitStruct.Speed = GPIO_SPEED_FREQ_LOW;
  HAL_GPIO_Init(GPIOC, &GPIO_InitStruct);

  /*Configure GPIO pin : PA4 */
  GPIO_InitStruct.Pin = GPIO_PIN_4;
  GPIO_InitStruct.Mode = GPIO_MODE_AF_PP;
  GPIO_InitStruct.Pull = GPIO_NOPULL;
  GPIO_InitStruct.Speed = GPIO_SPEED_FREQ_VERY_HIGH;
  GPIO_InitStruct.Alternate = GPIO_AF6_SPI3;
  HAL_GPIO_Init(GPIOA, &GPIO_InitStruct);

  /*Configure GPIO pins : PA5 PA12 */
  GPIO_InitStruct.Pin = GPIO_PIN_5|GPIO_PIN_12;
  GPIO_InitStruct.Mode = GPIO_MODE_OUTPUT_PP;
  GPIO_InitStruct.Pull = GPIO_NOPULL;
  GPIO_InitStruct.Speed = GPIO_SPEED_FREQ_LOW;
  HAL_GPIO_Init(GPIOA, &GPIO_InitStruct);

  /*Configure GPIO pins : PB1 PB2 PB12 PB13 */
  GPIO_InitStruct.Pin = GPIO_PIN_1|GPIO_PIN_2|GPIO_PIN_12|GPIO_PIN_13;
  GPIO_InitStruct.Mode = GPIO_MODE_OUTPUT_PP;
  GPIO_InitStruct.Pull = GPIO_NOPULL;
  GPIO_InitStruct.Speed = GPIO_SPEED_FREQ_LOW;
  HAL_GPIO_Init(GPIOB, &GPIO_InitStruct);

}

/* USER CODE BEGIN 4 */

/**
  * @brief Callback function called when UART receives a complete buffer.
  *
  * Used to receive distance and angle data from the OPENMV camera.
  *
  * @param huart Pointer to UART handle that triggered the interrupt
  * @retval None
  */
void HAL_UART_RxCpltCallback(UART_HandleTypeDef *huart)
{
    // Interpret the received bytes as float values
    Distance_Target = *(float *)&rx_buff[0];
    Angle_Target = *(float *)&rx_buff[4];

    // Clear the receive buffer
    memset(rx_buff, 0, sizeof(rx_buff));

    // Restart UART reception
    HAL_UART_Receive_IT(&huart3, rx_buff, 8);
}

/**
  * @brief Callback function called when a timer captures an input signal.
  *
  * Used to receive signals from the remote control. If the trigger is pulled, the robot will
  * completely stop moving.
  *
  * @param htim Pointer to TIM handle that triggered the interrupt
  * @retval None
  */
void HAL_TIM_IC_CaptureCallback(TIM_HandleTypeDef *htim)
{
    if (htim->Channel == HAL_TIM_ACTIVE_CHANNEL_1)  // if the interrupt source is channel1
    {
        if (Is_First_Captured == 0) // if the first value is not captured
        {
            IC_Val1 = HAL_TIM_ReadCapturedValue(htim, TIM_CHANNEL_1); // read the first value
            Is_First_Captured = 1;  // set the first captured as true
        }
        else   // if the first is already captured
        {
            IC_Val2 = HAL_TIM_ReadCapturedValue(htim, TIM_CHANNEL_1);  // read second value

            if (IC_Val2 > IC_Val1)
            {
                Difference = IC_Val2 - IC_Val1;
            }
            else if (IC_Val1 > IC_Val2)
            {
                Difference = (0xffff - IC_Val1) + IC_Val2;
            }

            int refClock = TIMCLOCK / (PRESCALAR);
            int mFactor = 1000000 / refClock;

            usWidth = Difference * mFactor;

            __HAL_TIM_SET_COUNTER(htim, 0);  // reset the counter
            Is_First_Captured = 0; // set it back to false
        }
    }
}

/**
  * @brief Helper function to redirect printf output.
  * Used to help debug code by printing to SMV.
  * @param file File descriptor (not used in this implementation)
  * @param ptr Pointer to the data to be written
  * @param len Length of the data to be written
  * @retval Number of bytes written
  */
int _write(int file, char *ptr, int len)
{
    for (int DataIdx = 0; DataIdx < len; DataIdx++)
        ITM_SendChar(*ptr++);

    return len;
}
/* USER CODE END 4 */

void Error_Handler(void)
{
}
